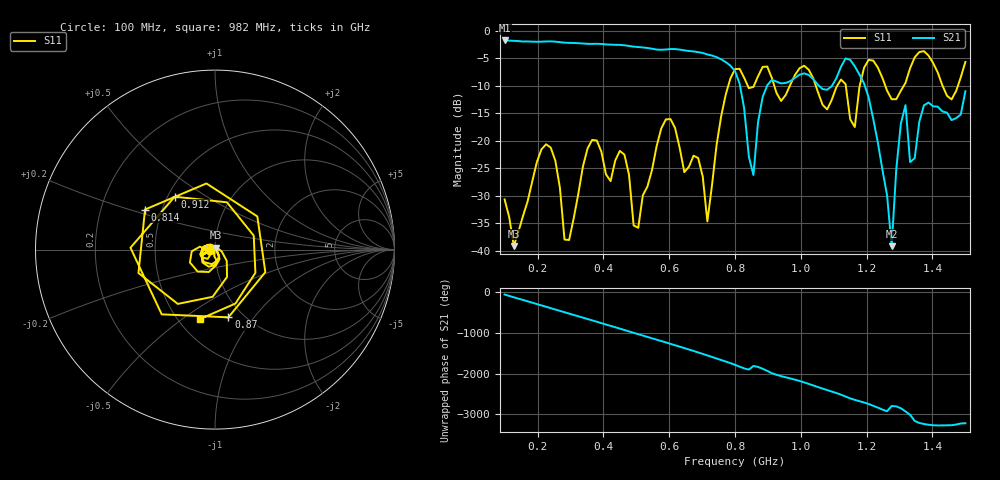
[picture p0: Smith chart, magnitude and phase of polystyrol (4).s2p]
! NanoVNA-App
! Date: 2025-09-25 15:29:55
! Start: 100MHz Stop: 1,5GHz Points: 101
! S-Parameter data: F S11 S21 S12 S22
# Hz S RI R 50
!  Frequency  S11_Real  S11_Imag  S21_Real  S21_Imag  S12_Real  S12_Imag  S22_Real  S22_Imag
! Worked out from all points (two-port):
!   101 points, 100 MHz to 1.5 GHz, reference 50 ohm
!   highest |S21| = -1.80 dB at 100 MHz (marker M1); lowest = -39.2 dB at 1.276 GHz (marker M2)
!   |S21| within 3 dB of the highest: start of sweep to 742.8 MHz
!   lowest |S11| = -39.1 dB at 128 MHz (marker M3), VSWR 1.02, Z = 50.3 + j1.06 ohm
!   |S11| at or under -10 dB: start of sweep to 779.7 MHz; 1.045 GHz to 1.111 GHz (65.49 MHz wide, 6.08 % of centre); 1.256 GHz to 1.313 GHz (56.77 MHz wide, 4.42 % of centre) (the widest 3 of 7)
!   S12 and S22 are empty: the file has one direction only
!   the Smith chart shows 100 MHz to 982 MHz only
!   S11 on the Smith chart (normalised r, x): 100 MHz: 0.94, -0.01; 814 MHz: 0.40, +0.23; 870 MHz: 0.85, -0.76; 912 MHz: 0.54, +0.37; 982 MHz: 0.64, -0.59
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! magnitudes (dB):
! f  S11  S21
! 100 MHz  -30.7  -1.8
! 128 MHz  -39.1  -1.9
! 212 MHz  -21.6  -2.0
! 282 MHz  -38.0  -2.2
! 338 MHz  -24.7  -2.4
! 464 MHz  -22.5  -2.7
! 506 MHz  -35.9  -3.0
! 576 MHz  -17.8  -3.5
! 716 MHz  -34.7  -4.3
! 800 MHz  -7.0  -7.4
! 814 MHz  -7.0  -9.6
! 856 MHz  -10.2  -26.2
! 870 MHz  -8.3  -16.6
! 912 MHz  -8.6  -8.9
! 982 MHz  -8.1  -8.6
! 1.038 GHz  -8.7  -8.8
! 1.164 GHz  -17.5  -6.5
! 1.192 GHz  -6.8  -9.6
! 1.276 GHz  -12.5  -39.2
! 1.318 GHz  -9.5  -13.5
! 1.332 GHz  -6.8  -23.9
! 1.5 GHz  -5.7  -11.0
